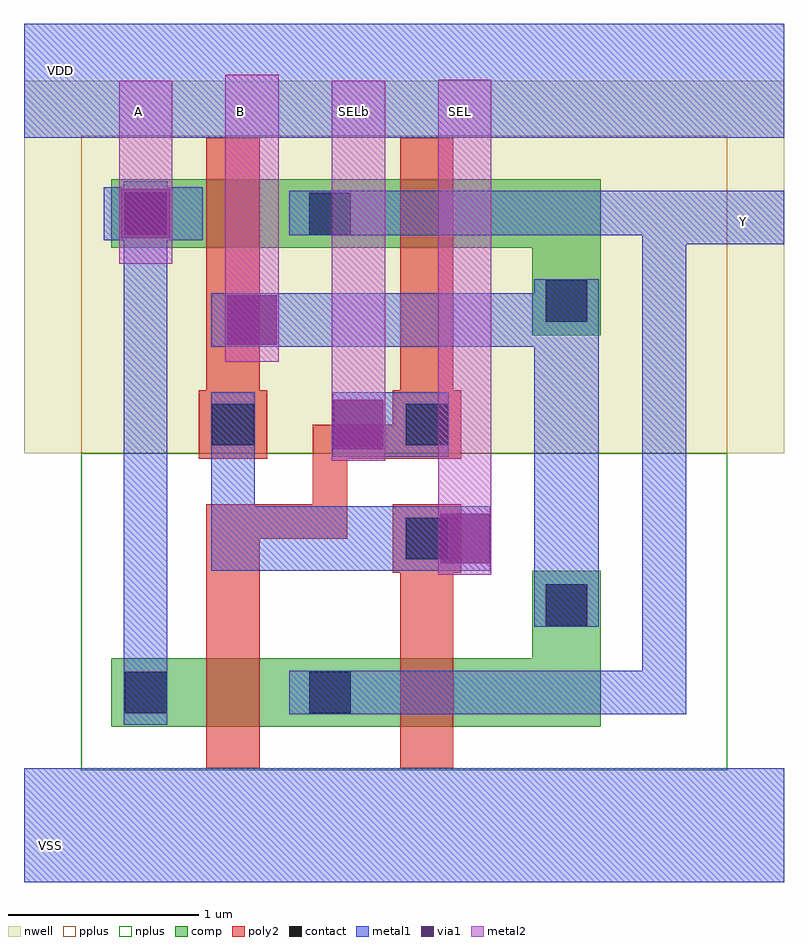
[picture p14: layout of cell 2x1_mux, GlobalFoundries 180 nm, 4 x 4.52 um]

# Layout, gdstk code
import gdstk
lib = gdstk.Library(unit=1e-6, precision=5e-09)
def R(c, l, rs):  # rectangles x0, y0, x1, y1
    for r in rs: c.add(gdstk.rectangle(r[:2], r[2:], *l))
nwell = (21, 0)
comp = (22, 0)
poly2 = (30, 0)
pplus = (31, 0)
nplus = (32, 0)
contact = (33, 0)
metal1 = (34, 0)
via1 = (35, 0)
metal2 = (36, 0)

c_2x1_mux = lib.new_cell('2x1_mux')
R(c_2x1_mux, nwell, [(0,1.96,4,3.92)])
R(c_2x1_mux, comp, [(0.46,0.52,3.035,0.88), (2.675,0.88,3.035,1.34), (2.675,2.58,3.035,3.04), (0.46,3.04,3.035,3.4)])
R(c_2x1_mux, poly2, [(0.96,0.3,1.24,1.69), (1.98,0.3,2.26,1.33), (1.94,1.33,2.3,1.69), (1.24,1.51,1.52,1.69), (1.52,1.51,1.7,2.11), (0.92,1.93,1.28,2.29), (1.7,1.93,1.94,2.11), (1.94,1.93,2.3,2.29), (0.96,2.29,1.24,3.62), (1.98,2.29,2.26,3.62)])
R(c_2x1_mux, pplus, [(0.3,1.96,3.7,3.63)])
R(c_2x1_mux, nplus, [(0.3,0.29,3.7,1.96)])
R(c_2x1_mux, contact, [(0.53,0.59,0.75,0.81), (1.5,0.59,1.72,0.81), (2.745,1.05,2.965,1.27), (2.01,1.4,2.23,1.62), (0.99,2,1.21,2.22), (2.01,2,2.23,2.22), (2.745,2.65,2.965,2.87), (0.53,3.11,0.75,3.33), (1.5,3.11,1.72,3.33)])
R(c_2x1_mux, metal1, [(0,-0.3,4,0.3), (0.525,0.53,0.755,3.39), (1.395,0.585,3.485,0.815), (3.255,0.815,3.485,3.105), (2.685,1.045,3.025,2.875), (0.985,1.34,1.215,2.28), (1.215,1.34,2.455,1.68), (1.625,1.94,2.235,2.28), (0.985,2.52,2.685,2.8), (3.485,3.06,4,3.34), (0.42,3.08,0.94,3.36), (1.395,3.105,3.485,3.34), (0,3.62,4,4.22)])
R(c_2x1_mux, via1, [(2.19,1.38,2.45,1.64), (1.63,1.98,1.89,2.24), (1.07,2.53,1.33,2.79), (0.51,3.09,0.77,3.35)])
R(c_2x1_mux, metal2, [(2.18,1.32,2.46,3.925), (1.62,1.92,1.9,3.92), (1.06,2.44,1.34,3.95), (0.5,2.955,0.78,3.92)])
c_2x1_mux.add(gdstk.Label('VDD', (0.19,3.975), layer=34, texttype=10))
c_2x1_mux.add(gdstk.Label('VSS', (0.14,-0.105), layer=34, texttype=10))
c_2x1_mux.add(gdstk.Label('Y', (3.785,3.18), layer=34, texttype=10))
c_2x1_mux.add(gdstk.Label('SEL', (2.295,3.76), layer=36, texttype=10))
c_2x1_mux.add(gdstk.Label('SELb', (1.74,3.76), layer=36, texttype=10))
c_2x1_mux.add(gdstk.Label('A', (0.605,3.755), layer=36, texttype=10))
c_2x1_mux.add(gdstk.Label('B', (1.14,3.755), layer=36, texttype=10))

lib.write_gds('2x1_mux.gds')
